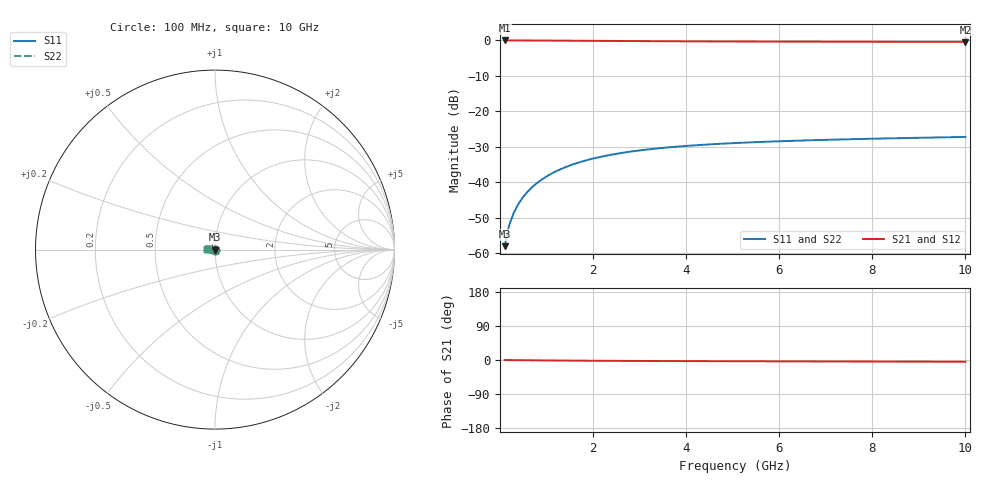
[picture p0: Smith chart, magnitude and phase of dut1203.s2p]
! Touchstone file exported from HFSS 2024.1.0
!  File:  C:/UserFiles/LocalFiles/RDL_TSV_Batchsim/temp_TSV1_1203_1780247548.aedt
!  Generated:  01:18:07 AM Jun  1, 2026
!  Design:  TSV1
!  Project:  temp_TSV1_1203_1780247548
!  Setup:  Setup1
!  Solution:  Sweep
! Variables:
!  dtsv = 12.08um
!  hbump = 3um
!  htsv = 70.32um
!  lrdl = 252.1521522um
!  p = 40
!  p1 = 56.76um
!  t = 500um
!  trdl = 3um
!  wrdl = 24.89489489um
# GHz S MA R 50.000000
! Terminal data exported
! Port[1] = TSV22_T1
! Port[2] = TSV22_T2
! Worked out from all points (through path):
!   100 points, 100 MHz to 10 GHz, reference 50 ohm
!   highest |S21| = 0.00 dB at 100 MHz (marker M1); lowest = -0.4 dB at 10 GHz (marker M2)
!   lowest |S11| = -58.1 dB at 100 MHz (marker M3), VSWR 1.00, Z = 50 - j0.125 ohm
!   |S11| at or under -10 dB: start of sweep to end of sweep
!   |S22| runs from -58.1 to -27.2 dB; largest |S21 - S12| = 4e-15
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0.1  0.001249 -87.8  0.9999 -0.1  0.9999 -0.1  0.001249 -87.8
! Gamma 0 0 0 0
! Port Impedance 50 0 50 0
0.2  0.002493 -91.7  0.9997 -0.2  0.9997 -0.2  0.002493 -91.7
0.3  0.003735 -94.3  0.9995 -0.4  0.9995 -0.4  0.003735 -94.3
0.4  0.004972 -96.5  0.9992 -0.5  0.9992 -0.5  0.004972 -96.5
0.5  0.006197 -98.7  0.9988 -0.6  0.9988 -0.6  0.006197 -98.7
0.6  0.007406 -100.7  0.9983 -0.7  0.9983 -0.7  0.007406 -100.7
0.7  0.008597 -102.8  0.9978 -0.8  0.9978 -0.8  0.008597 -102.8
0.8  0.009766 -104.7  0.9972 -0.9  0.9972 -0.9  0.009766 -104.7
0.9  0.01091 -106.7  0.9966 -1.0  0.9966 -1.0  0.01091 -106.7
1.1  0.01312 -110.4  0.9951 -1.2  0.9951 -1.2  0.01312 -110.4
1.4  0.01621 -115.7  0.9927 -1.5  0.9927 -1.5  0.01621 -115.7
1.6  0.0181 -119.1  0.9909 -1.7  0.9909 -1.7  0.0181 -119.1
1.8  0.01988 -122.3  0.9891 -1.8  0.9891 -1.8  0.01988 -122.3
2.1  0.0223 -126.8  0.9864 -2.0  0.9864 -2.0  0.0223 -126.8
2.5  0.02511 -132.4  0.9829 -2.3  0.9829 -2.3  0.02511 -132.4
2.9  0.02751 -137.4  0.9796 -2.5  0.9796 -2.5  0.02751 -137.4
3.4  0.03001 -143.0  0.9759 -2.7  0.9759 -2.7  0.03001 -143.0
4.2  0.03314 -150.6  0.9709 -3.0  0.9709 -3.0  0.03314 -150.6
5.1  0.03576 -157.8  0.9665 -3.3  0.9665 -3.3  0.03576 -157.8
6.7  0.03906 -168.1  0.9611 -3.7  0.9611 -3.7  0.03906 -168.1
8.4  0.04155 -176.8  0.9574 -4.2  0.9574 -4.2  0.04155 -176.8
10  0.04345 176.3  0.955 -4.7  0.955 -4.7  0.04345 176.3
